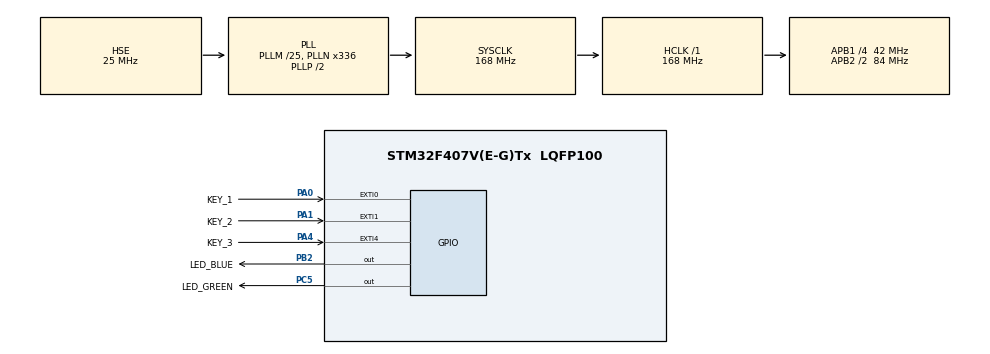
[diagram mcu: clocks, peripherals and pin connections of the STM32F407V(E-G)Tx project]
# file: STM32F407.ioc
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Mcu.Family=STM32F4
Mcu.Name=STM32F407V(E-G)Tx
Mcu.Package=LQFP100
NVIC.EXTI0_IRQn=true\:0\:0\:false\:false\:true\:true\:true\:true
NVIC.EXTI1_IRQn=true\:0\:0\:false\:false\:true\:true\:true\:true
NVIC.EXTI4_IRQn=true\:0\:0\:false\:false\:true\:true\:true\:true
NVIC.PriorityGroup=NVIC_PRIORITYGROUP_4
NVIC.TIM6_DAC_IRQn=true\:0\:0\:false\:false\:true\:true\:true\:true
PA0-WKUP.GPIO_Label=KEY_1
PA0-WKUP.GPIO_ModeDefaultEXTI=GPIO_MODE_IT_RISING
PA0-WKUP.GPIO_PuPd=GPIO_PULLDOWN
PA0-WKUP.Signal=GPXTI0
PA1.GPIO_Label=KEY_2
PA1.GPIO_ModeDefaultEXTI=GPIO_MODE_IT_FALLING
PA1.GPIO_PuPd=GPIO_PULLUP
PA1.Signal=GPXTI1
PA13.Mode=Serial_Wire
PA13.Signal=SYS_JTMS-SWDIO
PA14.Mode=Serial_Wire
PA14.Signal=SYS_JTCK-SWCLK
PA4.GPIO_Label=KEY_3
PA4.GPIO_ModeDefaultEXTI=GPIO_MODE_IT_FALLING
PA4.GPIO_PuPd=GPIO_PULLUP
PA4.Signal=GPXTI4
PB2.GPIO_Label=LED_BLUE
PB2.GPIO_PuPd=GPIO_PULLDOWN
PB2.Signal=GPIO_Output
PC5.GPIO_Label=LED_GREEN
PC5.GPIO_PuPd=GPIO_PULLDOWN
PC5.Signal=GPIO_Output
PH0-OSC_IN.Mode=HSE-External-Oscillator
PH0-OSC_IN.Signal=RCC_OSC_IN
PH1-OSC_OUT.Mode=HSE-External-Oscillator
PH1-OSC_OUT.Signal=RCC_OSC_OUT
ProjectManager.HeapSize=0x0400
ProjectManager.StackSize=0x1000
ProjectManager.TargetToolchain=MDK-ARM V5.32
RCC.48MHZClocksFreq_Value=84000000
RCC.AHBFreq_Value=168000000
RCC.APB1CLKDivider=RCC_HCLK_DIV4
RCC.APB1Freq_Value=42000000
RCC.APB1TimFreq_Value=84000000
RCC.APB2CLKDivider=RCC_HCLK_DIV2
RCC.APB2Freq_Value=84000000
RCC.APB2TimFreq_Value=168000000
RCC.CortexFreq_Value=168000000
RCC.HCLKFreq_Value=168000000
RCC.HSE_VALUE=25000000
RCC.HSI_VALUE=16000000
RCC.LSE_VALUE=32768
RCC.PLLM=25
RCC.PLLN=336
RCC.PLLSourceVirtual=RCC_PLLSOURCE_HSE
RCC.SYSCLKFreq_VALUE=168000000
RCC.SYSCLKSource=RCC_SYSCLKSOURCE_PLLCLK
RCC.VCOOutputFreq_Value=336000000
TIM6.AutoReloadPreload=TIM_AUTORELOAD_PRELOAD_ENABLE
TIM6.Period=1000-1
TIM6.Prescaler=84-1
VP_TIM6_VS_ClockSourceINT.Mode=Enable_Timer
board=custom

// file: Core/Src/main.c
/* USER CODE BEGIN Header */
/**==================================================================================================================
 ** 【代码编写】  魔女开发板团队
 ** 【淘    宝】  魔女开发板       https://demoboard.taobao.com
 **==================================================================================================================
 ** 【实验名称】  2.8寸屏 触摸测试（XPT2046）
 **
 ** 【适用平台】  STM32F407 + Keil5 + HAL库
 **
 ** 【功能概述】  本程序实现 XPT2046 电阻触摸屏的驱动，演示触摸检测、坐标获取及屏幕画点，支持校准功能。
 **               1. 初始化系统时钟、UART1、W25Q128 外部 Flash、ILI9341 显示屏及 XPT2046 触摸屏
 **               2. 在屏幕上显示操作提示及坐标信息
 **               3. 循环检测触摸屏状态：按下时在对应位置画点，并实时显示坐标
 **               4. 支持两种方式进入校准模式：
 **                  - 按下 KEY1 按键
 **                  - 通过串口发送字符串 "XPT2046"
 **               5. 校准数据存储于 W25Q128 外部 Flash 中，断电保存
 **               6. 绿色 LED 每 500ms 闪烁一次，指示系统运行状态
 **
 ** 【硬件接线】  1. LCD 显示屏（ILI9341）：引脚定义见 bsp_LCD_ILI9341.h
 **               2. XPT2046 触摸屏：引脚定义见 bsp_XPT2046.h（SPI 接口 + 中断引脚）
 **               3. W25Q128 外部 Flash：存储字库及触摸校准数据（SPI 接口）
 **               4. UART1 调试串口：PA9(TX)、PA10(RX)，波特率 115200
 **               5. LED：绿色 PC5（低电平点亮），蓝色 PB2（低电平点亮）
 **               6. 按键：KEY1(PA0)、KEY2(PA1)、KEY3(PA4)，已配置中断
 **
 ** 【移植说明】  1. 复制本工程的 LCD_ILI9341、W25Q128、XPT2046 文件夹到目标工程目录
 **               2. 在 Keil 中添加头文件路径：Options → C/C++ → Include Paths
 **               3. 添加源文件到工程：bsp_LCD_ILI9341.c、bsp_W25Q128.c、bsp_XPT2046.c
 **               4. 在需要使用触摸功能的文件中包含 #include "bsp_XPT2046.h"
 **               5. 如需修改触摸引脚，请在 bsp_XPT2046.h 中修改宏定义
 **               6. 本工程不依赖 CubeMX 配置引脚，所有引脚均在 bsp 文件中定义
 **
 ** 【函数使用】  触摸屏应用只需四步（适用于裸机、FreeRTOS、LVGL 等）：
 **               1. 初始化：XPT2046_Init(width, height, dir)  // 传入屏幕宽度、高度、方向
 **               2. 检测按下：XPT2046_IsPressed()            // 返回 0-未按下，1-按下
 **               3. 获取坐标：XPT2046_GetX() / XPT2046_GetY() // 获取按下位置的 X/Y 坐标
 **               4. 可选：XPT2046_ReCalibration()            // 重新校准触摸屏
 **
 ** 【调试建议】  1. 若触摸无响应，检查 XPT2046 的 SPI 通信及中断引脚连接
 **               2. 若触摸位置偏移，可执行校准（按下 KEY1 或串口发送 "XPT2046"）
 **               3. 校准数据存储于 W25Q128 中，若 Flash 未烧录字库，需确保校准数据存储区域未被占用
 **               4. 可在屏幕上观察画点位置与触摸笔位置是否一致，判断校准效果
 **
 ** 【更新记录】  2024-04-08  完善 font.h 数组命名，优化注释
 **               2024-02-19  增加串口校准命令，完善触摸演示界面
 **
 ** 【备注说明】  版权归魔女科技所有，仅供学习测试，请勿商用。
 **               https://demoboard.taobao.com
 **
==================================================================================================================**/
/* USER CODE END Header */
#include "main.h"
#include "tim.h"
#include "gpio.h"

/* USER CODE BEGIN Includes */
/* 所有用户代码，必须写在配对的BEGIN与END注释行之间，否则重新生成时会被删除 */

#include "bsp_UART.h"            // 串口驱动
#include "bsp_LCD_ILI9341.h"     // LCD驱动
#include "bsp_XPT2046.h"         // 触屏驱动
#include "bsp_W25Q128.h"         // 外部Flash, 存有触屏的校准数据

/* USER CODE END Includes */

void SystemClock_Config(void);

int main(void)
{
    /* USER CODE BEGIN 1 */

    /* 说明：
     * 1. 不要删除CubeMX生成的注释行（形如 USER CODE BEGIN/END），这些注释用于代码重新生成时的定位
     * 2. 所有用户自定义代码必须写在对应的BEGIN与END注释行之间，否则重新生成时会被覆盖
     * 3. 主要初始化函数说明：
     *    - HAL_Init()            初始化HAL库，配置中断优先级、系统时基等
     *    - SystemClock_Config()  配置系统时钟
     *    - MX_GPIO_Init()        初始化GPIO引脚（仅包含推挽输出、中断触发等配置）
     *    - 外设功能引脚（如UART、SPI等）的初始化在各自的功能文件中
     */

    /* USER CODE END 1 */

    /* MCU Configuration--------------------------------------------------------*/

    /* Reset of all peripherals, Initializes the Flash interface and the Systick. */
    HAL_Init();

    /* Configure the system clock */
    SystemClock_Config();

    /* Initialize all configured peripherals */
    MX_GPIO_Init();
    MX_TIM6_Init();
    /* USER CODE BEGIN 2 */
    /* 所有用户代码，必须写在配对的BEGIN与END注释行之间，否则重新生成时会被删除 */

    UART1_Init(115200);                                                             // 初始化UART1

    printf("\r\r\r=========== STM32F407 外设初始报告 ===========\r");               // 注意，printf函数，必须重定向后才能使用，否则程序会卡死; 本示例已重写fputc, 在main.c的底部附近
    printf("系统运行时钟：           %d MHz\r", SystemCoreClock / 1000000);         // 输出系统运行时钟的频率，以检查是否配置正常

    HAL_GPIO_WritePin(LED_GREEN_GPIO_Port, LED_GREEN_Pin, GPIO_PIN_SET);            // LED控制引脚置高电平，红亮灭

    W25Q128_Init();                                                                 // 外部Flash 初始化，其内部存储有汉字字模数据

    LCD_Init();                                                                     // LCD ILI9341 初始化
    LCD_SetDir(0);                                                                  // 设置显示方向：0-竖屏、1-横屏

    XPT2046_Init(xLCD.width, xLCD.height, xLCD.dir);                                // 触摸检测 初始化; 参数：屏宽、屏高、显示的方向

    // 显示提示，可以自行删除
    LCD_Fill(0, 0, 240, 320, BLACK);                                                // 整个背景填充颜色
    LCD_String(58, 8, "触 摸 检 测", 24, WHITE, BLACK);                             // 显示标题;
    LCD_Line(0, 38, 240, 38, GRAY);                                                 // 画个横线
    LCD_String(5, 240, "这是一个电阻屏测试程序", 12, WHITE, BLACK);                 // 显示文字;
    LCD_String(5, 255, "用于示范：触摸检测、坐标获取、画点", 12, WHITE, BLACK);     // 显示文字;
    LCD_String(5, 270, "如果发现坐标不对，按下左1按键进入校准", 12, WHITE, BLACK);  // 显示文字;
    LCD_String(5, 285, "电阻屏优点：适合油、潮湿、粉尘等环境", 12, WHITE, BLACK);   // 显示文字;
    LCD_String(5, 300, "电阻屏缺点：需要使用指尖等硬物触控", 12, WHITE, BLACK);     // 显示文字;

    /* USER CODE END 2 */

    /* Infinite loop */
    while (1)
    {

        /* USER CODE BEGIN 3 */
        /* 所有用户代码，必须写在配对的BEGIN与END注释行之间，否则重新生成时会被删除 */

        /** 1ms延时 **/
        HAL_Delay(1 - 1);                                                  // 延时函数，参数：ms; 注意：CubeMX生成的HAL_Delay(), 函数内部为避免无效操作，会对传入参数+1，因此，如果只需要几ms延时建议传入参数时-1，如果需要大几百ms的非精准延时，那参数不-1也影响不大

        /** 检查触摸屏是否按下 **/
        if (XPT2046_IsPressed())                                           // 检查触摸屏是否按下; 返回：0-未按下、1-按下
        {
            LCD_DrawPoint(XPT2046_GetX(), XPT2046_GetY(), GREEN);          // 在按下的位置，画点; 用于测试
            static char str[20] = {0};                                     // 新建数组，用于存放坐标字符串
            sprintf(str, "X:%3d  Y:%3d", XPT2046_GetX(), XPT2046_GetY());  // 格式化坐标字符串
            LCD_String(78, 40, str, 16, WHITE, BLACK);                     // 显示坐标字符串
        }

        /** UART1 是否接收到数据 **/
        if (UART1_GetRxNum())                                              // 如果接收字节数>0, 即为接收到新一帧数据
        {
            if (strstr((char *)UART1_GetRxData(), "XPT2046"))              // 判断是否收到"XPT2046", 调用触摸屏重新校准函数
            {
                XPT2046_ReCalibration();                                   // 进入触摸屏校准
            }
            UART1_ClearRx();                                               // 清0本次接收
        }

        /** 每500ms执行一次的任务 **/
        static uint32_t lastTime_500ms = 0;                                // 定义静态变量，用于记录上次执行这个任务的时间点(单位：毫秒)
        if (HAL_GetTick() - lastTime_500ms >= 500)                         // 检查当前时间距离上次执行是否已经过了500ms; HAL_GetTick()是获取启动后经过的毫秒数;
        {
            HAL_GPIO_TogglePin(GPIOC, GPIO_PIN_5);                         // 控制绿色LED引脚电平翻转(PC5); 规律地闪烁LED，方便外部观察系统是否正常运行
            lastTime_500ms =   HAL_GetTick();                              // 记录当前时间，作为新的基准点，为下一次判断做准备
        }

    }
    /* USER CODE END 3 */
}

void SystemClock_Config(void)
{
    RCC_OscInitTypeDef RCC_OscInitStruct = {0};
    RCC_ClkInitTypeDef RCC_ClkInitStruct = {0};

    /** Configure the main internal regulator output voltage
    */
    __HAL_RCC_PWR_CLK_ENABLE();
    __HAL_PWR_VOLTAGESCALING_CONFIG(PWR_REGULATOR_VOLTAGE_SCALE1);

    /** Initializes the RCC Oscillators according to the specified parameters
    * in the RCC_OscInitTypeDef structure.
    */
    RCC_OscInitStruct.OscillatorType = RCC_OSCILLATORTYPE_HSE;
    RCC_OscInitStruct.HSEState = RCC_HSE_ON;
    RCC_OscInitStruct.PLL.PLLState = RCC_PLL_ON;
    RCC_OscInitStruct.PLL.PLLSource = RCC_PLLSOURCE_HSE;
    RCC_OscInitStruct.PLL.PLLM = 25;
    RCC_OscInitStruct.PLL.PLLN = 336;
    RCC_OscInitStruct.PLL.PLLP = RCC_PLLP_DIV2;
    RCC_OscInitStruct.PLL.PLLQ = 4;
    if (HAL_RCC_OscConfig(&RCC_OscInitStruct) != HAL_OK)
    {
        Error_Handler();
    }

    /** Initializes the CPU, AHB and APB buses clocks
    */
    RCC_ClkInitStruct.ClockType = RCC_CLOCKTYPE_HCLK | RCC_CLOCKTYPE_SYSCLK
                                  | RCC_CLOCKTYPE_PCLK1 | RCC_CLOCKTYPE_PCLK2;
    RCC_ClkInitStruct.SYSCLKSource = RCC_SYSCLKSOURCE_PLLCLK;
    RCC_ClkInitStruct.AHBCLKDivider = RCC_SYSCLK_DIV1;
    RCC_ClkInitStruct.APB1CLKDivider = RCC_HCLK_DIV4;
    RCC_ClkInitStruct.APB2CLKDivider = RCC_HCLK_DIV2;

    if (HAL_RCC_ClockConfig(&RCC_ClkInitStruct, FLASH_LATENCY_5) != HAL_OK)
    {
        Error_Handler();
    }
}

/* USER CODE BEGIN 4 */
/* 所有用户代码，必须写在配对的BEGIN与END注释行之间，否则重新生成时会被删除 */

/******************************************************************************
 * 函  数： HAL_GPIO_EXTI_Callback
 * 功  能： EXTI中断回调函数
 * 参  数： uint16_t  GPIO_Pin    引脚编号，参数范围：GPIO_Pin_0 ~ GPIO_Pin_15
 * 返回值： 无
 * 备  注： CubeMX生成的代码在思维和风格上，与使用标准库编写时有很大的区别：
 *          1：这个是回调函数，不是中断服务函数。完整的调用：EXTIx_IRQHandler() > HAL_GPIO_EXTI_IRQHandler(GPIO_PIN_x) > HAL_GPIO_EXTI_Callback(GPIO_PIN_x)
 *          2：必须使用这个函数名称，因为它在CubeMX生成时，已被写好了各种函数调用、函数弱定义(在stm32xx_hal_gpio.c的底部); 不建议在原弱定义中增添代码，而是重写本函数
 *          3：中断条件触发后，本函数被自动调用，无需进行人工调用; 也无需进行中断标志的清理，因为HAL_GPIO_EXTI_IRQHandler()函数中已有操作;
 *          4：生成的所有EXTI中断服务函数，都统一调用这个函数，以引脚编号作参数
 *          5：判断参数传进来的引脚编号，即可知道是哪个外部中断线产生的中断信号
******************************************************************************/
void HAL_GPIO_EXTI_Callback(uint16_t GPIO_Pin)
{
    if (GPIO_Pin == KEY_1_Pin)                                  // 按键1 产生的中断信号：KEY_1、PA0、闲时下拉、按下时高电平、上升沿触发
    {
        HAL_GPIO_TogglePin(GPIOB, GPIO_PIN_2);                  // 反转蓝色LED灯
        printf("KEY_1 按下\r");                                 // 通过串口助手输出提示
        XPT2046_ReCalibration();                                // 触摸屏重新校准
    }

    if (GPIO_Pin == KEY_2_Pin)                                  // 按键2 产生的中断信号：KEY_2、PA1、闲时上拉、按下时低电平、下降沿触发
    {
        HAL_GPIO_TogglePin(GPIOB, GPIO_PIN_2);                  // 反转蓝色LED灯
        printf("KEY_2 按下\r");                                 // 通过串口助手输出提示
    }

    if (GPIO_Pin == KEY_3_Pin)                                  // 按键3 产生的中断信号：KEY_3、PA4、闲时上拉、按下低高电平、下降沿触发
    {
        HAL_GPIO_TogglePin(GPIOB, GPIO_PIN_2);                  // 反转蓝色LED灯
        printf("KEY_3 按下\r");                                 // 通过串口助手输出提示
    }
}

/******************************************************************************
 * 函  数： HAL_TIM_PeriodElapsedCallback
 * 功  能： 周期更新回调函数
 * 备  注： 本函数是TIM的CNT溢出中断回调函数。
 *          当TIM的计数器CNT，完成1周期计数时触发(向上计数：CNT==ARR、向下计数：CNT==0);
 *          上述中断触发后，硬件自动调用相关中断服务函数，继而调用本函数。
 *          所有TIM的周期更新中断，都是调用本函数，因此需要在函数内判断是哪一个TIM触发的中断;
 * 参  数： TIM_HandleTypeDef   *htim
 * 返回值： 无
******************************************************************************/
void HAL_TIM_PeriodElapsedCallback(TIM_HandleTypeDef *htim)
{
    if (htim->Instance == TIM6)                                        // 判断是哪个TIM产生的中断
    {

    }

}

/* USER CODE END 4 */

void Error_Handler(void)
{
    __disable_irq();
    while (1)
    {
    }
}
